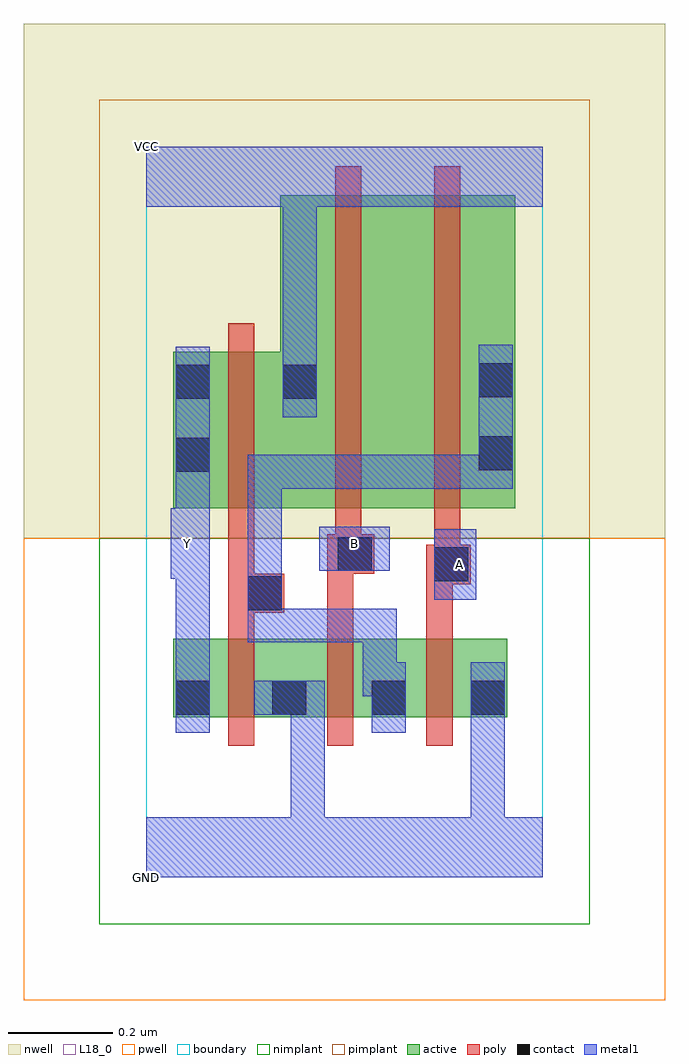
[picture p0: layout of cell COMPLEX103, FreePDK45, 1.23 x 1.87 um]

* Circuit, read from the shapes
.subckt COMPLEX103 A B GND VCC Y
M1 GND n1 Y VSUBS nfet w=0.15u l=0.05u
M2 n1 B GND VSUBS nfet w=0.15u l=0.05u
M3 GND A n1 VSUBS nfet w=0.15u l=0.05u
M4 VCC n1 Y n2 pfet w=0.3u l=0.05u
M5 n3 B VCC n2 pfet w=0.6u l=0.05u
M6 n1 A n3 n2 pfet w=0.6u l=0.05u
.ends

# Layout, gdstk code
import gdstk
lib = gdstk.Library(unit=1e-6, precision=1e-09)
def R(c, l, rs):  # rectangles x0, y0, x1, y1
    for r in rs: c.add(gdstk.rectangle(r[:2], r[2:], *l))
def A(c, l, x, y, w, h, nx, ny, dx, dy):  # array of equal rectangles
    R(c, l, [(x+i*dx, y+j*dy, x+i*dx+w, y+j*dy+h) for i in range(nx) for j in range(ny)])
active = (1, 0)
pwell = (2, 0)
nwell = (3, 0)
nimplant = (4, 0)
pimplant = (5, 0)
poly = (9, 0)
contact = (10, 0)
metal1 = (11, 0)
L18_0 = (18, 0)
boundary = (235, 0)

complex103 = lib.new_cell('COMPLEX103')
R(complex103, active, [(0.052,0.307,0.127,0.457), (0.052,0.307,0.312,0.457), (0.237,0.307,0.502,0.457), (0.237,0.307,0.312,0.397), (0.427,0.307,0.502,0.457), (0.427,0.307,0.692,0.457), (0.617,0.307,0.692,0.457), (0.052,0.707,0.332,1.007), (0.052,0.707,0.127,1.005), (0.257,0.707,0.482,1.307), (0.482,0.707,0.707,1.307), (0.632,0.707,0.707,1.2), (0.257,0.835,0.332,1.175)])
R(complex103, pwell, [(-0.235,-0.235,0.995,0.65)])
R(complex103, nwell, [(-0.235,0.65,0.995,1.635)])
R(complex103, nimplant, [(-0.09,-0.09,0.85,0.65)])
R(complex103, pimplant, [(-0.09,0.65,0.85,1.49)])
A(complex103, poly, 0.157, 0.252, 0.05, 0.26, 3, 1, 0.19, 0)
R(complex103, poly, [(0.157,0.462,0.207,0.557), (0.347,0.462,0.397,0.632), (0.537,0.462,0.587,0.612), (0.157,0.507,0.265,0.582), (0.157,0.532,0.207,0.702), (0.537,0.562,0.622,0.637), (0.347,0.582,0.437,0.657), (0.552,0.587,0.602,0.702), (0.362,0.607,0.412,0.702), (0.157,0.652,0.207,1.062), (0.362,0.652,0.412,1.362), (0.552,0.652,0.602,1.362)])
A(complex103, contact, 0.242, 0.312, 0.065, 0.065, 3, 1, 0.19, 0)
R(complex103, contact, [(0.057,0.312,0.122,0.377), (0.195,0.512,0.26,0.577), (0.552,0.567,0.617,0.632), (0.367,0.587,0.432,0.652), (0.057,0.777,0.122,0.842), (0.637,0.78,0.702,0.845), (0.057,0.917,0.122,0.982), (0.262,0.917,0.327,0.982), (0.637,0.92,0.702,0.985)])
R(complex103, metal1, [(0,0,0.76,0.115), (0.277,0.05,0.342,0.115), (0.277,0.05,0.342,0.115), (0.277,0.05,0.342,0.377), (0.622,0.05,0.687,0.342), (0.057,0.277,0.122,0.412), (0.432,0.277,0.497,0.412), (0.622,0.277,0.687,0.342), (0.622,0.277,0.687,0.342), (0.622,0.277,0.687,0.342), (0.622,0.277,0.687,0.342), (0.622,0.277,0.687,0.342), (0.622,0.277,0.687,0.342), (0.622,0.277,0.687,0.412), (0.207,0.312,0.342,0.377), (0.277,0.312,0.342,0.377), (0.277,0.312,0.342,0.377), (0.277,0.312,0.342,0.377), (0.277,0.312,0.342,0.377), (0.057,0.347,0.122,0.637), (0.415,0.347,0.497,0.412), (0.415,0.347,0.48,0.515), (0.195,0.45,0.26,0.515), (0.195,0.45,0.48,0.515), (0.195,0.45,0.26,0.542), (0.195,0.477,0.26,0.542), (0.195,0.477,0.26,0.542), (0.195,0.477,0.26,0.612), (0.195,0.477,0.26,0.81), (0.552,0.532,0.632,0.667), (0.047,0.572,0.122,0.707), (0.332,0.587,0.467,0.672), (0.057,0.642,0.122,0.807), (0.057,0.742,0.122,1.017), (0.195,0.745,0.26,0.81), (0.195,0.745,0.48,0.81), (0.415,0.745,0.48,0.81), (0.415,0.745,0.48,0.81), (0.415,0.745,0.48,0.81), (0.415,0.745,0.702,0.81), (0.637,0.745,0.702,0.81), (0.637,0.745,0.702,0.81), (0.637,0.745,0.702,1.02), (0.262,0.882,0.327,1.017), (0.262,0.952,0.327,1.35), (0,1.285,0.76,1.4)])
R(complex103, L18_0, [(0,0,0.76,0.115), (0.277,0.05,0.342,0.115), (0.277,0.05,0.342,0.115), (0.277,0.05,0.342,0.377), (0.622,0.05,0.687,0.342), (0.057,0.277,0.122,0.412), (0.622,0.277,0.687,0.412), (0.622,0.277,0.687,0.342), (0.622,0.277,0.687,0.342), (0.622,0.277,0.687,0.342), (0.622,0.277,0.687,0.342), (0.622,0.277,0.687,0.342), (0.622,0.277,0.687,0.342), (0.207,0.312,0.342,0.377), (0.277,0.312,0.342,0.377), (0.277,0.312,0.342,0.377), (0.277,0.312,0.342,0.377), (0.277,0.312,0.342,0.377), (0.057,0.347,0.122,0.637), (0.552,0.532,0.632,0.667), (0.567,0.567,0.632,0.632), (0.047,0.572,0.122,0.707), (0.332,0.587,0.467,0.672), (0.047,0.607,0.112,0.672), (0.367,0.607,0.432,0.672), (0.057,0.642,0.122,0.807), (0.057,0.742,0.122,1.017), (0.262,0.882,0.327,1.017), (0.262,0.952,0.327,1.35), (0,1.285,0.76,1.4)])
R(complex103, boundary, [(0,0,0.76,1.4)])
complex103.add(gdstk.Label('A', (0.6,0.6), layer=11, texttype=0))
complex103.add(gdstk.Label('B', (0.4,0.64), layer=11, texttype=0))
complex103.add(gdstk.Label('Y', (0.08,0.64), layer=11, texttype=0))
complex103.add(gdstk.Label('VCC', (0,1.4), layer=11, texttype=0))
complex103.add(gdstk.Label('GND', (0,0), layer=11, texttype=0))

lib.write_gds('COMPLEX103.gds')
